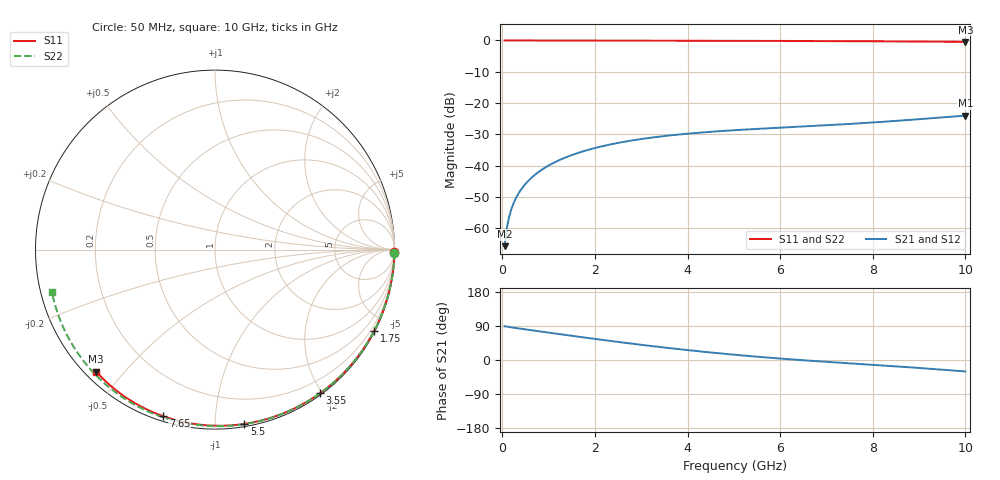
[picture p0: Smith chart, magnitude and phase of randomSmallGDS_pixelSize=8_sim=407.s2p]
! freq	dB(S11)	phase(S11)	dB(S12)	phase(S12)
!  dB(S21)	phase(S21)	dB(S22)	phase(S22)
!S-par simulation data
#  GHz  S  DB  R 50
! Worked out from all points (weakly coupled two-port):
!   200 points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, 50 MHz to 10 GHz, reference 50 ohm
!   highest |S21| = -23.99 dB at 10 GHz (marker M1); lowest = -65.7 dB at 50 MHz (marker M2)
!   lowest |S11| = -0.5 dB at 10 GHz (marker M3), VSWR 38.09, Z = 1.55 - j21.1 ohm
!   |S11| at or under -10 dB: nowhere
!   |S22| runs from -0.5 to 0.0 dB; largest |S21 - S12| = 0
!   S11 on the Smith chart (normalised r, x): 50 MHz: open; 1.75 GHz: 0.04, -4.13; 3.55 GHz: 0.02, -1.97; 5.5 GHz: 0.02, -1.18; 7.65 GHz: 0.02, -0.74; 10 GHz: 0.03, -0.42
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0.05  -0.00 -0.8  -65.68 89.0  -65.68 89.0  -0.00 -1.0
0.1  -0.00 -1.6  -59.67 88.0  -59.67 88.0  -0.00 -2.0
0.15  -0.00 -2.4  -56.16 87.0  -56.16 87.0  -0.00 -2.9
0.2  -0.00 -3.2  -53.67 86.1  -53.67 86.1  -0.00 -3.9
0.25  -0.00 -4.0  -51.75 85.2  -51.75 85.2  -0.00 -4.9
0.35  -0.00 -5.5  -48.86 83.4  -48.86 83.4  -0.01 -6.8
0.5  -0.01 -7.9  -45.81 80.7  -45.81 80.7  -0.01 -9.8
0.7  -0.01 -11.0  -42.95 77.3  -42.95 77.3  -0.02 -13.6
1  -0.02 -15.7  -39.94 72.2  -39.94 72.2  -0.02 -19.4
1.35  -0.03 -21.1  -37.46 66.3  -37.46 66.3  -0.03 -26.0
1.75  -0.04 -27.2  -35.38 59.7  -35.38 59.7  -0.04 -33.6
2.6  -0.05 -40.0  -32.44 46.1  -32.44 46.1  -0.07 -49.2
3.4  -0.07 -51.7  -30.69 34.3  -30.69 34.3  -0.09 -63.4
3.55  -0.08 -53.8  -30.43 32.2  -30.43 32.2  -0.09 -66.0
4.3  -0.10 -64.4  -29.39 22.3  -29.39 22.3  -0.12 -78.7
5.05  -0.12 -74.5  -28.62 13.5  -28.62 13.5  -0.14 -90.9
5.5  -0.13 -80.5  -28.24 8.7  -28.24 8.7  -0.16 -98.0
6.7  -0.19 -95.7  -27.32 -2.4  -27.32 -2.4  -0.23 -116.4
7.65  -0.25 -107.2  -26.52 -10.0  -26.52 -10.0  -0.30 -130.5
8.35  -0.30 -115.4  -25.84 -15.6  -25.84 -15.6  -0.36 -140.8
9.2  -0.37 -125.2  -24.91 -22.8  -24.91 -22.8  -0.45 -153.3
10  -0.46 -134.3  -23.99 -30.3  -23.99 -30.3  -0.55 -165.4
